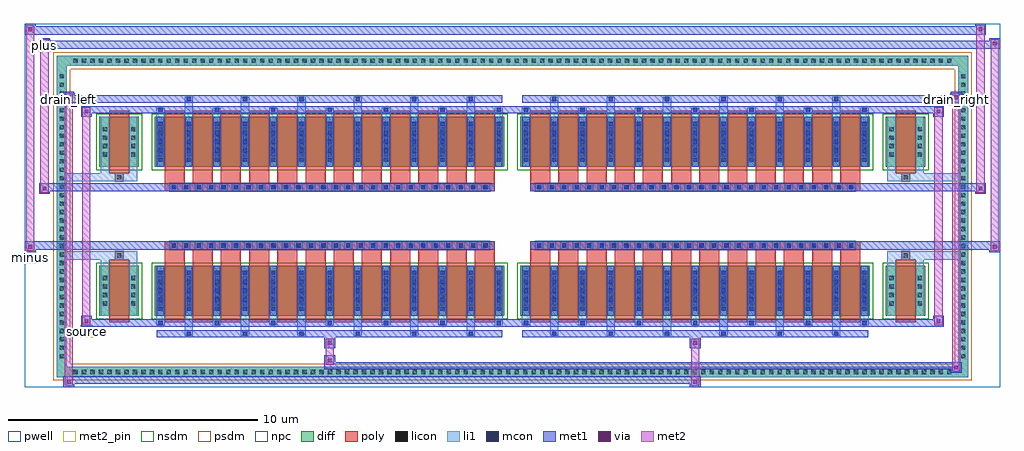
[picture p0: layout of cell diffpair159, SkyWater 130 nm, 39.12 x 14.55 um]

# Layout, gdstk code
import gdstk
lib = gdstk.Library(unit=1e-6, precision=5e-09)
def R(c, l, rs):  # rectangles x0, y0, x1, y1
    for r in rs: c.add(gdstk.rectangle(r[:2], r[2:], *l))
def A(c, l, x, y, w, h, nx, ny, dx, dy):  # array of equal rectangles
    R(c, l, [(x+i*dx, y+j*dy, x+i*dx+w, y+j*dy+h) for i in range(nx) for j in range(ny)])
def P(c, l, *ps):  # polygons
    for p in ps: c.add(gdstk.Polygon(p, *l))
pwell = (64, 44)
diff = (65, 20)
poly = (66, 20)
licon = (66, 44)
li1 = (67, 20)
mcon = (67, 44)
met1 = (68, 20)
via = (68, 44)
met2_pin = (69, 16)
met2 = (69, 20)
nsdm = (93, 44)
psdm = (94, 20)
npc = (95, 20)

diffpair159 = lib.new_cell('diffpair159')
R(diffpair159, pwell, [(-19.54,-6.84,19.54,7.71), (-16.86,-5.03,-0.01,-0.805), (0.01,-5.03,16.86,-0.805), (-16.86,0.805,-0.01,5.03), (0.01,0.805,16.86,5.03)])
A(diffpair159, diff, -17.715, -6.44, 0.41, 0.41, 104, 2, 0.34, 12.47)
A(diffpair159, diff, -18.27, -5.815, 0.41, 0.41, 1, 34, 0, 0.34)
A(diffpair159, diff, 17.86, -5.815, 0.41, 0.41, 1, 34, 0, 0.34)
R(diffpair159, diff, [(-17.715,-6.44,17.715,-6.03), (-18.27,-5.815,-17.86,5.815), (17.86,-5.815,18.27,5.815), (-16.55,-3.985,-14.97,-1.985), (-14.33,-3.985,-0.32,-1.985), (0.32,-3.985,14.33,-1.985), (14.97,-3.985,16.55,-1.985), (-16.55,1.985,-14.97,3.985), (-14.33,1.985,-0.32,3.985), (0.32,1.985,14.33,3.985), (14.97,1.985,16.55,3.985), (-17.715,6.03,17.715,6.44)])
P(diffpair159, diff, [(18.27,6.44),(-18.27,6.44),(-18.27,-6.03),(-17.86,-6.03),(-17.86,6.03),(17.86,6.03),(17.86,-6.03),(-17.86,-6.03),(-18.27,-6.03),(-18.27,-6.44),(18.27,-6.44)])
A(diffpair159, poly, -13.94, -4.235, 0.8, 2.5, 12, 2, 1.13, 5.97)
A(diffpair159, poly, 0.71, -4.235, 0.8, 2.5, 12, 2, 1.13, 5.97)
A(diffpair159, poly, -13.94, -1.735, 0.8, 0.4, 12, 2, 1.13, 3.07)
A(diffpair159, poly, 0.71, -1.735, 0.8, 0.4, 12, 2, 1.13, 3.07)
A(diffpair159, poly, -13.74, -1.335, 0.33, 0.33, 26, 2, 0.5, 2.34)
A(diffpair159, poly, 0.91, -1.335, 0.33, 0.33, 26, 2, 0.5, 2.34)
R(diffpair159, poly, [(-16.16,-4.235,-15.36,-1.735), (15.36,-4.235,16.16,-1.735), (-15.925,-1.735,-15.595,-1.405), (-15.925,-1.735,-15.595,-1.405), (15.595,-1.735,15.925,-1.405), (15.595,-1.735,15.925,-1.405), (-13.94,-1.335,-0.71,-1.005), (0.71,-1.335,13.94,-1.005), (-13.94,1.005,-0.71,1.335), (0.71,1.005,13.94,1.335), (-15.925,1.405,-15.595,1.735), (-15.925,1.405,-15.595,1.735), (15.595,1.405,15.925,1.735), (15.595,1.405,15.925,1.735), (-16.16,1.735,-15.36,4.235), (15.36,1.735,16.16,4.235)])
A(diffpair159, licon, -17.595, -6.32, 0.17, 0.17, 104, 2, 0.34, 12.47)
A(diffpair159, licon, -18.15, -5.695, 0.17, 0.17, 1, 34, 0, 0.34)
A(diffpair159, licon, 17.98, -5.695, 0.17, 0.17, 1, 34, 0, 0.34)
A(diffpair159, licon, -16.41, -3.58, 0.17, 0.17, 1, 4, 0, 0.34)
A(diffpair159, licon, -15.28, -3.58, 0.17, 0.17, 1, 4, 0, 0.34)
A(diffpair159, licon, -14.19, -3.58, 0.17, 0.17, 13, 4, 1.13, 0.34)
A(diffpair159, licon, 0.46, -3.58, 0.17, 0.17, 13, 4, 1.13, 0.34)
A(diffpair159, licon, 15.11, -3.58, 0.17, 0.17, 1, 4, 0, 0.34)
A(diffpair159, licon, 16.24, -3.58, 0.17, 0.17, 1, 4, 0, 0.34)
A(diffpair159, licon, -13.66, -1.255, 0.17, 0.17, 26, 2, 0.5, 2.34)
A(diffpair159, licon, 0.99, -1.255, 0.17, 0.17, 26, 2, 0.5, 2.34)
A(diffpair159, licon, -16.41, 2.39, 0.17, 0.17, 1, 4, 0, 0.34)
A(diffpair159, licon, -15.28, 2.39, 0.17, 0.17, 1, 4, 0, 0.34)
A(diffpair159, licon, -14.19, 2.39, 0.17, 0.17, 13, 4, 1.13, 0.34)
A(diffpair159, licon, 0.46, 2.39, 0.17, 0.17, 13, 4, 1.13, 0.34)
A(diffpair159, licon, 15.11, 2.39, 0.17, 0.17, 1, 4, 0, 0.34)
A(diffpair159, licon, 16.24, 2.39, 0.17, 0.17, 1, 4, 0, 0.34)
R(diffpair159, licon, [(-15.845,-1.655,-15.675,-1.485), (15.675,-1.655,15.845,-1.485), (-15.845,1.485,-15.675,1.655), (15.675,1.485,15.845,1.655)])
A(diffpair159, li1, -17.675, -6.4, 0.33, 0.33, 104, 2, 0.34, 12.47)
A(diffpair159, li1, -18.23, -5.775, 0.33, 0.33, 1, 34, 0, 0.34)
A(diffpair159, li1, 17.9, -5.775, 0.33, 0.33, 1, 34, 0, 0.34)
A(diffpair159, li1, -13.14, -4.79, 0.33, 0.805, 6, 2, 2.26, 8.775)
A(diffpair159, li1, -13.06, -4.79, 0.17, 0.17, 6, 2, 2.26, 9.41)
A(diffpair159, li1, 1.51, -4.79, 0.33, 0.805, 6, 2, 2.26, 8.775)
A(diffpair159, li1, 1.59, -4.79, 0.17, 0.17, 6, 2, 2.26, 9.41)
A(diffpair159, li1, -14.27, -4.36, 0.33, 0.375, 7, 2, 2.26, 8.345)
A(diffpair159, li1, -14.19, -4.36, 0.17, 0.17, 7, 2, 2.26, 8.55)
A(diffpair159, li1, 0.38, -4.36, 0.33, 0.375, 7, 2, 2.26, 8.345)
A(diffpair159, li1, 0.46, -4.36, 0.17, 0.17, 7, 2, 2.26, 8.55)
A(diffpair159, li1, -14.27, -3.985, 0.33, 2, 13, 2, 1.13, 5.97)
A(diffpair159, li1, 0.38, -3.985, 0.33, 2, 13, 2, 1.13, 5.97)
A(diffpair159, li1, -14.19, -3.79, 0.17, 0.17, 13, 5, 1.13, 0.36)
A(diffpair159, li1, -14.19, -3.79, 0.17, 1.61, 13, 2, 1.13, 5.97)
A(diffpair159, li1, 0.46, -3.79, 0.17, 0.17, 13, 5, 1.13, 0.36)
A(diffpair159, li1, 0.46, -3.79, 0.17, 1.61, 13, 2, 1.13, 5.97)
A(diffpair159, li1, -16.49, -3.66, 0.33, 0.33, 1, 4, 0, 0.34)
A(diffpair159, li1, -15.36, -3.66, 0.33, 0.33, 1, 4, 0, 0.34)
A(diffpair159, li1, -14.27, -3.66, 0.33, 0.33, 13, 4, 1.13, 0.34)
A(diffpair159, li1, 0.38, -3.66, 0.33, 0.33, 13, 4, 1.13, 0.34)
A(diffpair159, li1, 15.03, -3.66, 0.33, 0.33, 1, 4, 0, 0.34)
A(diffpair159, li1, 16.16, -3.66, 0.33, 0.33, 1, 4, 0, 0.34)
A(diffpair159, li1, -13.74, -1.335, 0.33, 0.33, 26, 2, 0.5, 2.34)
A(diffpair159, li1, 0.91, -1.335, 0.33, 0.33, 26, 2, 0.5, 2.34)
A(diffpair159, li1, -14.19, 2.18, 0.17, 0.17, 13, 5, 1.13, 0.36)
A(diffpair159, li1, 0.46, 2.18, 0.17, 0.17, 13, 5, 1.13, 0.36)
A(diffpair159, li1, -16.49, 2.31, 0.33, 0.33, 1, 4, 0, 0.34)
A(diffpair159, li1, -15.36, 2.31, 0.33, 0.33, 1, 4, 0, 0.34)
A(diffpair159, li1, -14.27, 2.31, 0.33, 0.33, 13, 4, 1.13, 0.34)
A(diffpair159, li1, 0.38, 2.31, 0.33, 0.33, 13, 4, 1.13, 0.34)
A(diffpair159, li1, 15.03, 2.31, 0.33, 0.33, 1, 4, 0, 0.34)
A(diffpair159, li1, 16.16, 2.31, 0.33, 0.33, 1, 4, 0, 0.34)
R(diffpair159, li1, [(-18.27,-6.44,-17.86,-6.03), (-18.27,-6.44,-17.86,-6.03), (-17.86,-6.44,17.86,-6.03), (17.86,-6.44,18.27,-6.03), (17.86,-6.44,18.27,-6.03), (-18.27,-6.03,-17.86,6.03), (17.86,-6.03,18.27,6.03), (-16.49,-3.985,-16.16,-1.985), (-15.36,-3.985,-15.03,-1.985), (15.03,-3.985,15.36,-1.985), (16.16,-3.985,16.49,-1.985), (-16.49,-1.985,-16.16,-1.405), (-15.36,-1.985,-15.03,-1.405), (15.03,-1.985,15.36,-1.405), (16.16,-1.985,16.49,-1.405), (-18.27,-1.735,-15.925,-1.405), (-16.49,-1.735,-15.925,-1.405), (-15.925,-1.735,-15.595,-1.405), (-15.595,-1.735,-15.03,-1.405), (15.03,-1.735,15.595,-1.405), (15.595,-1.735,15.925,-1.405), (15.595,-1.735,18.27,-1.405), (15.925,-1.735,16.49,-1.405), (-18.27,1.405,-15.925,1.735), (-16.49,1.405,-15.925,1.735), (-16.49,1.405,-16.16,1.985), (-15.925,1.405,-15.595,1.735), (-15.595,1.405,-15.03,1.735), (-15.36,1.405,-15.03,1.985), (15.03,1.405,15.595,1.735), (15.03,1.405,15.36,1.985), (15.595,1.405,15.925,1.735), (15.595,1.405,18.27,1.735), (15.925,1.405,16.49,1.735), (16.16,1.405,16.49,1.985), (-16.49,1.985,-16.16,3.985), (-15.36,1.985,-15.03,3.985), (15.03,1.985,15.36,3.985), (16.16,1.985,16.49,3.985), (-18.27,6.03,-17.86,6.44), (-18.27,6.03,-17.86,6.44), (-17.86,6.03,17.86,6.44), (17.86,6.03,18.27,6.44), (17.86,6.03,18.27,6.44)])
A(diffpair159, mcon, -13.06, -4.79, 0.17, 0.17, 6, 2, 2.26, 9.41)
A(diffpair159, mcon, 1.59, -4.79, 0.17, 0.17, 6, 2, 2.26, 9.41)
A(diffpair159, mcon, -14.19, -4.36, 0.17, 0.17, 7, 2, 2.26, 8.55)
A(diffpair159, mcon, 0.46, -4.36, 0.17, 0.17, 7, 2, 2.26, 8.55)
A(diffpair159, mcon, -14.19, -3.79, 0.17, 0.17, 13, 5, 1.13, 0.36)
A(diffpair159, mcon, 0.46, -3.79, 0.17, 0.17, 13, 5, 1.13, 0.36)
A(diffpair159, mcon, -13.66, -1.255, 0.17, 0.17, 26, 2, 0.5, 2.34)
A(diffpair159, mcon, 0.99, -1.255, 0.17, 0.17, 26, 2, 0.5, 2.34)
A(diffpair159, mcon, -14.19, 2.18, 0.17, 0.17, 13, 5, 1.13, 0.36)
A(diffpair159, mcon, 0.46, 2.18, 0.17, 0.17, 13, 5, 1.13, 0.36)
A(diffpair159, met1, -13.12, -4.85, 0.29, 0.29, 6, 2, 2.26, 9.41)
A(diffpair159, met1, 1.53, -4.85, 0.29, 0.29, 6, 2, 2.26, 9.41)
A(diffpair159, met1, -14.25, -4.42, 0.29, 0.29, 7, 2, 2.26, 8.55)
A(diffpair159, met1, 0.4, -4.42, 0.29, 0.29, 7, 2, 2.26, 8.55)
A(diffpair159, met1, -14.25, -3.985, 0.29, 2, 13, 2, 1.13, 5.97)
A(diffpair159, met1, 0.4, -3.985, 0.29, 2, 13, 2, 1.13, 5.97)
A(diffpair159, met1, -14.25, -3.85, 0.29, 0.29, 13, 5, 1.13, 0.36)
A(diffpair159, met1, 0.4, -3.85, 0.29, 0.29, 13, 5, 1.13, 0.36)
A(diffpair159, met1, -13.72, -1.315, 0.29, 0.29, 26, 2, 0.5, 2.34)
A(diffpair159, met1, 0.93, -1.315, 0.29, 0.29, 26, 2, 0.5, 2.34)
A(diffpair159, met1, -14.25, 2.12, 0.29, 0.29, 13, 5, 1.13, 0.36)
A(diffpair159, met1, 0.4, 2.12, 0.29, 0.29, 13, 5, 1.13, 0.36)
R(diffpair159, met1, [(-18,-6.84,-17.57,-6.41), (7.11,-6.84,7.54,-6.41), (-18,-6.7,7.54,-6.41), (17.57,-6.27,18,-5.84), (-7.54,-6.13,18,-5.84), (-7.54,-5.99,-7.11,-5.56), (-7.54,-5.28,-7.11,-4.85), (7.11,-5.28,7.54,-4.85), (-14.25,-4.85,-0.4,-4.56), (0.4,-4.85,14.25,-4.56), (-17.29,-4.42,-16.86,-3.99), (-17.29,-4.42,-14.25,-4.13), (-14.25,-4.42,-0.4,-4.13), (-0.4,-4.42,0.4,-4.13), (0.4,-4.42,14.25,-4.13), (14.25,-4.42,17.29,-4.13), (16.86,-4.42,17.29,-3.99), (-19.54,-1.435,-19.11,-1.005), (19.11,-1.435,19.54,-1.005), (-19.54,-1.335,-0.71,-1.005), (-13.94,-1.335,-0.71,-1.005), (0.71,-1.335,13.94,-1.005), (0.71,-1.335,19.54,-1.005), (-18.97,0.905,-18.54,1.335), (18.54,0.905,18.97,1.335), (-18.97,1.005,-13.94,1.335), (-13.94,1.005,-0.71,1.335), (0.71,1.005,13.94,1.335), (13.94,1.005,18.97,1.335), (-17.29,3.99,-16.86,4.42), (16.86,3.99,17.29,4.42), (-17.29,4.13,-14.25,4.42), (-14.25,4.13,-0.4,4.42), (-0.4,4.13,0.4,4.42), (0.4,4.13,14.25,4.42), (14.25,4.13,17.29,4.42), (-18,4.56,-17.57,4.99), (-18,4.56,-14.25,4.85), (-14.25,4.56,-0.4,4.85), (0.4,4.56,14.25,4.85), (14.25,4.56,18,4.85), (17.57,4.56,18,4.99), (-18.97,6.71,-18.54,7.14), (-18.97,6.71,-16.86,7.04), (-16.86,6.71,16.86,7.04), (16.86,6.71,19.54,7.04), (19.11,6.71,19.54,7.14), (-19.54,7.28,-19.11,7.71), (-19.54,7.28,-16.86,7.61), (-16.86,7.28,16.86,7.61), (16.86,7.28,18.97,7.61), (18.54,7.28,18.97,7.71)])
R(diffpair159, via, [(-17.86,-6.7,-17.71,-6.55), (7.25,-6.7,7.4,-6.55), (17.71,-6.13,17.86,-5.98), (-7.4,-5.85,-7.25,-5.7), (-7.4,-5.14,-7.25,-4.99), (7.25,-5.14,7.4,-4.99), (-17.15,-4.28,-17,-4.13), (17,-4.28,17.15,-4.13), (-19.4,-1.295,-19.25,-1.145), (19.25,-1.295,19.4,-1.145), (-18.83,1.045,-18.68,1.195), (18.68,1.045,18.83,1.195), (-17.15,4.13,-17,4.28), (17,4.13,17.15,4.28), (-17.86,4.7,-17.71,4.85), (17.71,4.7,17.86,4.85), (-18.83,6.85,-18.68,7), (19.25,6.85,19.4,7), (-19.4,7.42,-19.25,7.57), (18.68,7.42,18.83,7.57)])
R(diffpair159, met2_pin, [(-17.325,-4.87,-16.825,-4.37), (-19.575,-1.885,-19.075,-1.385), (-18.035,4.44,-17.535,4.94), (17.535,4.44,18.035,4.94), (-19.005,6.59,-18.505,7.09)])
R(diffpair159, met2, [(-17.95,-6.79,-17.62,-6.46), (-17.95,-6.79,-17.62,4.94), (7.16,-6.79,7.49,-6.46), (7.16,-6.46,7.49,-5.23), (17.62,-6.22,17.95,-5.89), (17.62,-6.22,17.95,4.94), (-7.49,-5.94,-7.16,-5.61), (-7.49,-5.61,-7.16,-5.23), (-7.49,-5.23,-7.16,-4.9), (7.16,-5.23,7.49,-4.9), (-17.24,-4.37,-16.91,-4.04), (-17.24,-4.37,-16.91,4.37), (16.91,-4.37,17.24,-4.04), (16.91,-4.37,17.24,4.37), (-19.49,-1.385,-19.16,-1.055), (-19.49,-1.385,-19.16,7.66), (19.16,-1.385,19.49,-1.055), (19.16,-1.385,19.49,7.09), (-18.92,0.955,-18.59,1.285), (-18.92,0.955,-18.59,7.09), (18.59,0.955,18.92,1.285), (18.59,0.955,18.92,7.66), (-17.24,4.04,-16.91,4.37), (16.91,4.04,17.24,4.37), (-17.95,4.61,-17.62,4.94), (17.62,4.61,17.95,4.94), (-18.92,6.76,-18.59,7.09), (19.16,6.76,19.49,7.09), (-19.49,7.33,-19.16,7.66), (18.59,7.33,18.92,7.66)])
P(diffpair159, met2, [(19.49,-1.385),(19.49,-1.385),(19.49,-1.055),(19.49,-1.055)],
  [(19.49,6.76),(19.49,6.76),(19.49,7.09),(19.49,7.09)],
  [(-19.16,-1.385),(-19.16,-1.385),(-19.16,-1.055),(-19.16,-1.055)],
  [(-19.16,7.33),(-19.16,7.33),(-19.16,7.66),(-19.16,7.66)],
  [(18.92,0.955),(18.92,0.955),(18.92,1.285),(18.92,1.285)],
  [(18.92,7.33),(18.92,7.33),(18.92,7.66),(18.92,7.66)],
  [(-18.59,0.955),(-18.59,0.955),(-18.59,1.285),(-18.59,1.285)],
  [(-18.59,6.76),(-18.59,6.76),(-18.59,7.09),(-18.59,7.09)],
  [(-17.62,-6.79),(-17.62,-6.79),(-17.62,-6.46),(-17.62,-6.46)],
  [(-17.62,4.61),(-17.62,4.61),(-17.62,4.94),(-17.62,4.94)],
  [(17.95,-6.22),(17.95,-6.22),(17.95,-5.89),(17.95,-5.89)],
  [(17.95,4.61),(17.95,4.61),(17.95,4.94),(17.95,4.94)],
  [(-16.91,-4.37),(-16.91,-4.37),(-16.91,-4.04),(-16.91,-4.04)],
  [(-16.91,4.04),(-16.91,4.04),(-16.91,4.37),(-16.91,4.37)],
  [(17.24,-4.37),(17.24,-4.37),(17.24,-4.04),(17.24,-4.04)],
  [(17.24,4.04),(17.24,4.04),(17.24,4.37),(17.24,4.37)])
R(diffpair159, nsdm, [(-16.68,-4.115,-14.84,-1.855), (-14.46,-4.115,-0.19,-1.855), (0.19,-4.115,14.46,-1.855), (14.84,-4.115,16.68,-1.855), (-16.68,1.855,-14.84,4.115), (-14.46,1.855,-0.19,4.115), (0.19,1.855,14.46,4.115), (14.84,1.855,16.68,4.115)])
P(diffpair159, psdm, [(18.4,6.57),(-18.4,6.57),(-18.4,-5.9),(-17.73,-5.9),(-17.73,5.9),(17.73,5.9),(17.73,-5.9),(-17.73,-5.9),(-18.4,-5.9),(-18.4,-6.57),(18.4,-6.57)])
A(diffpair159, npc, -13.76, -1.355, 0.37, 0.37, 26, 2, 0.5, 2.34)
A(diffpair159, npc, 0.89, -1.355, 0.37, 0.37, 26, 2, 0.5, 2.34)
R(diffpair159, npc, [(-15.945,-1.755,-15.575,-1.385), (15.575,-1.755,15.945,-1.385), (-13.76,-1.355,-12.89,-0.985), (-13.76,-1.355,-12.89,-0.985), (-13.26,-1.355,-12.39,-0.985), (-13.26,-1.355,-12.39,-0.985), (-12.76,-1.355,-11.89,-0.985), (-12.76,-1.355,-11.89,-0.985), (-12.26,-1.355,-11.39,-0.985), (-12.26,-1.355,-11.39,-0.985), (-11.76,-1.355,-10.89,-0.985), (-11.76,-1.355,-10.89,-0.985), (-11.26,-1.355,-10.39,-0.985), (-11.26,-1.355,-10.39,-0.985), (-10.76,-1.355,-9.89,-0.985), (-10.76,-1.355,-9.89,-0.985), (-10.26,-1.355,-9.39,-0.985), (-10.26,-1.355,-9.39,-0.985), (-9.76,-1.355,-8.89,-0.985), (-9.76,-1.355,-8.89,-0.985), (-9.26,-1.355,-8.39,-0.985), (-9.26,-1.355,-8.39,-0.985), (-8.76,-1.355,-7.89,-0.985), (-8.76,-1.355,-7.89,-0.985), (-8.26,-1.355,-7.39,-0.985), (-8.26,-1.355,-7.39,-0.985), (-7.76,-1.355,-6.89,-0.985), (-7.76,-1.355,-6.89,-0.985), (-7.26,-1.355,-6.39,-0.985), (-7.26,-1.355,-6.39,-0.985), (-6.76,-1.355,-5.89,-0.985), (-6.76,-1.355,-5.89,-0.985), (-6.26,-1.355,-5.39,-0.985), (-6.26,-1.355,-5.39,-0.985), (-5.76,-1.355,-4.89,-0.985), (-5.76,-1.355,-4.89,-0.985), (-5.26,-1.355,-4.39,-0.985), (-5.26,-1.355,-4.39,-0.985), (-4.76,-1.355,-3.89,-0.985), (-4.76,-1.355,-3.89,-0.985), (-4.26,-1.355,-3.39,-0.985), (-4.26,-1.355,-3.39,-0.985), (-3.76,-1.355,-2.89,-0.985), (-3.76,-1.355,-2.89,-0.985), (-3.26,-1.355,-2.39,-0.985), (-3.26,-1.355,-2.39,-0.985), (-2.76,-1.355,-1.89,-0.985), (-2.76,-1.355,-1.89,-0.985), (-2.26,-1.355,-1.39,-0.985), (-2.26,-1.355,-1.39,-0.985), (-1.76,-1.355,-0.89,-0.985), (-1.76,-1.355,-0.89,-0.985), (0.89,-1.355,1.76,-0.985), (0.89,-1.355,1.76,-0.985), (1.39,-1.355,2.26,-0.985), (1.39,-1.355,2.26,-0.985), (1.89,-1.355,2.76,-0.985), (1.89,-1.355,2.76,-0.985), (2.39,-1.355,3.26,-0.985), (2.39,-1.355,3.26,-0.985), (2.89,-1.355,3.76,-0.985), (2.89,-1.355,3.76,-0.985), (3.39,-1.355,4.26,-0.985), (3.39,-1.355,4.26,-0.985), (3.89,-1.355,4.76,-0.985), (3.89,-1.355,4.76,-0.985), (4.39,-1.355,5.26,-0.985), (4.39,-1.355,5.26,-0.985), (4.89,-1.355,5.76,-0.985), (4.89,-1.355,5.76,-0.985), (5.39,-1.355,6.26,-0.985), (5.39,-1.355,6.26,-0.985), (5.89,-1.355,6.76,-0.985), (5.89,-1.355,6.76,-0.985), (6.39,-1.355,7.26,-0.985), (6.39,-1.355,7.26,-0.985), (6.89,-1.355,7.76,-0.985), (6.89,-1.355,7.76,-0.985), (7.39,-1.355,8.26,-0.985), (7.39,-1.355,8.26,-0.985), (7.89,-1.355,8.76,-0.985), (7.89,-1.355,8.76,-0.985), (8.39,-1.355,9.26,-0.985), (8.39,-1.355,9.26,-0.985), (8.89,-1.355,9.76,-0.985), (8.89,-1.355,9.76,-0.985), (9.39,-1.355,10.26,-0.985), (9.39,-1.355,10.26,-0.985), (9.89,-1.355,10.76,-0.985), (9.89,-1.355,10.76,-0.985), (10.39,-1.355,11.26,-0.985), (10.39,-1.355,11.26,-0.985), (10.89,-1.355,11.76,-0.985), (10.89,-1.355,11.76,-0.985), (11.39,-1.355,12.26,-0.985), (11.39,-1.355,12.26,-0.985), (11.89,-1.355,12.76,-0.985), (11.89,-1.355,12.76,-0.985), (12.39,-1.355,13.26,-0.985), (12.39,-1.355,13.26,-0.985), (12.89,-1.355,13.76,-0.985), (12.89,-1.355,13.76,-0.985), (-13.76,0.985,-12.89,1.355), (-13.76,0.985,-12.89,1.355), (-13.26,0.985,-12.39,1.355), (-13.26,0.985,-12.39,1.355), (-12.76,0.985,-11.89,1.355), (-12.76,0.985,-11.89,1.355), (-12.26,0.985,-11.39,1.355), (-12.26,0.985,-11.39,1.355), (-11.76,0.985,-10.89,1.355), (-11.76,0.985,-10.89,1.355), (-11.26,0.985,-10.39,1.355), (-11.26,0.985,-10.39,1.355), (-10.76,0.985,-9.89,1.355), (-10.76,0.985,-9.89,1.355), (-10.26,0.985,-9.39,1.355), (-10.26,0.985,-9.39,1.355), (-9.76,0.985,-8.89,1.355), (-9.76,0.985,-8.89,1.355), (-9.26,0.985,-8.39,1.355), (-9.26,0.985,-8.39,1.355), (-8.76,0.985,-7.89,1.355), (-8.76,0.985,-7.89,1.355), (-8.26,0.985,-7.39,1.355), (-8.26,0.985,-7.39,1.355), (-7.76,0.985,-6.89,1.355), (-7.76,0.985,-6.89,1.355), (-7.26,0.985,-6.39,1.355), (-7.26,0.985,-6.39,1.355), (-6.76,0.985,-5.89,1.355), (-6.76,0.985,-5.89,1.355), (-6.26,0.985,-5.39,1.355), (-6.26,0.985,-5.39,1.355), (-5.76,0.985,-4.89,1.355), (-5.76,0.985,-4.89,1.355), (-5.26,0.985,-4.39,1.355), (-5.26,0.985,-4.39,1.355), (-4.76,0.985,-3.89,1.355), (-4.76,0.985,-3.89,1.355), (-4.26,0.985,-3.39,1.355), (-4.26,0.985,-3.39,1.355), (-3.76,0.985,-2.89,1.355), (-3.76,0.985,-2.89,1.355), (-3.26,0.985,-2.39,1.355), (-3.26,0.985,-2.39,1.355), (-2.76,0.985,-1.89,1.355), (-2.76,0.985,-1.89,1.355), (-2.26,0.985,-1.39,1.355), (-2.26,0.985,-1.39,1.355), (-1.76,0.985,-0.89,1.355), (-1.76,0.985,-0.89,1.355), (0.89,0.985,1.76,1.355), (0.89,0.985,1.76,1.355), (1.39,0.985,2.26,1.355), (1.39,0.985,2.26,1.355), (1.89,0.985,2.76,1.355), (1.89,0.985,2.76,1.355), (2.39,0.985,3.26,1.355), (2.39,0.985,3.26,1.355), (2.89,0.985,3.76,1.355), (2.89,0.985,3.76,1.355), (3.39,0.985,4.26,1.355), (3.39,0.985,4.26,1.355), (3.89,0.985,4.76,1.355), (3.89,0.985,4.76,1.355), (4.39,0.985,5.26,1.355), (4.39,0.985,5.26,1.355), (4.89,0.985,5.76,1.355), (4.89,0.985,5.76,1.355), (5.39,0.985,6.26,1.355), (5.39,0.985,6.26,1.355), (5.89,0.985,6.76,1.355), (5.89,0.985,6.76,1.355), (6.39,0.985,7.26,1.355), (6.39,0.985,7.26,1.355), (6.89,0.985,7.76,1.355), (6.89,0.985,7.76,1.355), (7.39,0.985,8.26,1.355), (7.39,0.985,8.26,1.355), (7.89,0.985,8.76,1.355), (7.89,0.985,8.76,1.355), (8.39,0.985,9.26,1.355), (8.39,0.985,9.26,1.355), (8.89,0.985,9.76,1.355), (8.89,0.985,9.76,1.355), (9.39,0.985,10.26,1.355), (9.39,0.985,10.26,1.355), (9.89,0.985,10.76,1.355), (9.89,0.985,10.76,1.355), (10.39,0.985,11.26,1.355), (10.39,0.985,11.26,1.355), (10.89,0.985,11.76,1.355), (10.89,0.985,11.76,1.355), (11.39,0.985,12.26,1.355), (11.39,0.985,12.26,1.355), (11.89,0.985,12.76,1.355), (11.89,0.985,12.76,1.355), (12.39,0.985,13.26,1.355), (12.39,0.985,13.26,1.355), (12.89,0.985,13.76,1.355), (12.89,0.985,13.76,1.355), (-15.945,1.385,-15.575,1.755), (15.575,1.385,15.945,1.755)])
diffpair159.add(gdstk.Label('minus', (-19.325,-1.635), layer=69, texttype=5))
diffpair159.add(gdstk.Label('drain_right', (17.785,4.69), layer=69, texttype=5))
diffpair159.add(gdstk.Label('drain_left', (-17.785,4.69), layer=69, texttype=5))
diffpair159.add(gdstk.Label('source', (-17.075,-4.62), layer=69, texttype=5))
diffpair159.add(gdstk.Label('plus', (-18.755,6.84), layer=69, texttype=5))

lib.write_gds('diffpair159.gds')
